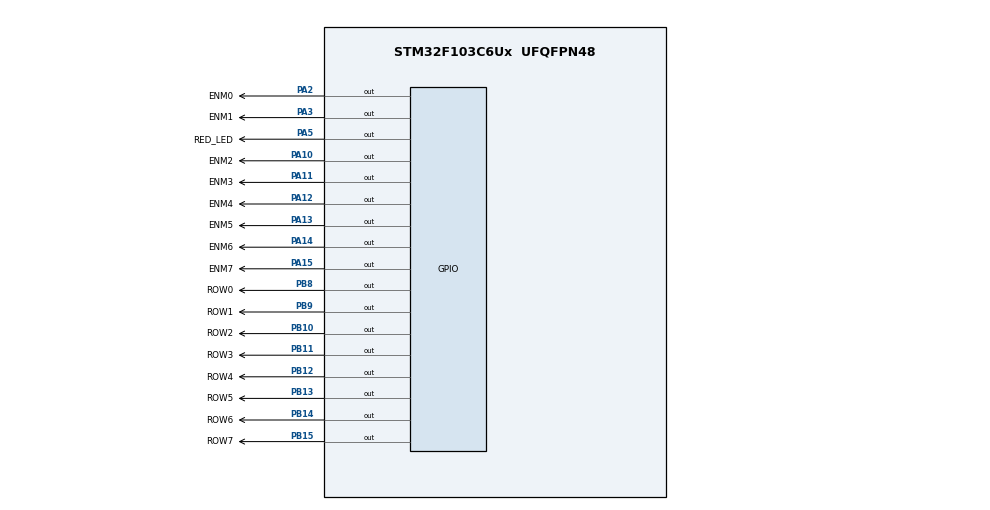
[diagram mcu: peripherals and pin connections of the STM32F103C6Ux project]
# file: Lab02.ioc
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Mcu.Family=STM32F1
Mcu.Name=STM32F103C6Ux
Mcu.Package=UFQFPN48
NVIC.PriorityGroup=NVIC_PRIORITYGROUP_4
NVIC.TIM2_IRQn=true\:0\:0\:false\:false\:true\:true\:true
PA10.GPIO_Label=ENM2
PA10.Signal=GPIO_Output
PA11.GPIO_Label=ENM3
PA11.Signal=GPIO_Output
PA12.GPIO_Label=ENM4
PA12.Signal=GPIO_Output
PA13.GPIO_Label=ENM5
PA13.Signal=GPIO_Output
PA14.GPIO_Label=ENM6
PA14.Signal=GPIO_Output
PA15.GPIO_Label=ENM7
PA15.Signal=GPIO_Output
PA2.GPIO_Label=ENM0
PA2.Signal=GPIO_Output
PA3.GPIO_Label=ENM1
PA3.Signal=GPIO_Output
PA5.GPIO_Label=RED_LED
PA5.Signal=GPIO_Output
PB10.GPIO_Label=ROW2
PB10.Signal=GPIO_Output
PB11.GPIO_Label=ROW3
PB11.Signal=GPIO_Output
PB12.GPIO_Label=ROW4
PB12.Signal=GPIO_Output
PB13.GPIO_Label=ROW5
PB13.Signal=GPIO_Output
PB14.GPIO_Label=ROW6
PB14.Signal=GPIO_Output
PB15.GPIO_Label=ROW7
PB15.Signal=GPIO_Output
PB8.GPIO_Label=ROW0
PB8.Signal=GPIO_Output
PB9.GPIO_Label=ROW1
PB9.Signal=GPIO_Output
ProjectManager.HeapSize=0x200
ProjectManager.StackSize=0x400
ProjectManager.TargetToolchain=STM32CubeIDE
RCC.APB1Freq_Value=8000000
RCC.APB2Freq_Value=8000000
TIM2.Period=9
TIM2.Prescaler=7999
VP_SYS_VS_ND.Mode=No_Debug
VP_TIM2_VS_ClockSourceINT.Mode=Internal
board=custom

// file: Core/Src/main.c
/* USER CODE BEGIN Header */
/**
  ******************************************************************************
  * @file           : main.c
  * @brief          : Main program body
  ******************************************************************************
  * @attention
  *
  * <h2><center>&copy; Copyright (c) 2022 STMicroelectronics.
  * All rights reserved.</center></h2>
  *
  * This software component is licensed by ST under BSD 3-Clause license,
  * the "License"; You may not use this file except in compliance with the
  * License. You may obtain a copy of the License at:
  *                        opensource.org/licenses/BSD-3-Clause
  *
  ******************************************************************************
  */
/* USER CODE END Header */
#include "main.h"

/* USER CODE BEGIN Includes */
#include "software_timer.h"

/* USER CODE END Includes */

TIM_HandleTypeDef htim2;

void SystemClock_Config(void);
static void MX_GPIO_Init(void);
static void MX_TIM2_Init(void);

/* USER CODE BEGIN 0 */
const int MAX_LED_MATRIX = 8;
int index_led_matrix = 0;
// represent letter A to display on led matrix
uint8_t matrix_buffer[8] = {0x00, 0xFC, 0xFE, 0x33, 0x33, 0xFE, 0xFC, 0x00};

// clear all the led on the matrix
void clearLEDMatrix()
{
	HAL_GPIO_WritePin(ENM0_GPIO_Port, ENM0_Pin, GPIO_PIN_SET);
	HAL_GPIO_WritePin(ENM1_GPIO_Port, ENM1_Pin, GPIO_PIN_SET);
	HAL_GPIO_WritePin(ENM2_GPIO_Port, ENM2_Pin, GPIO_PIN_SET);
	HAL_GPIO_WritePin(ENM3_GPIO_Port, ENM3_Pin, GPIO_PIN_SET);
	HAL_GPIO_WritePin(ENM4_GPIO_Port, ENM4_Pin, GPIO_PIN_SET);
	HAL_GPIO_WritePin(ENM5_GPIO_Port, ENM5_Pin, GPIO_PIN_SET);
	HAL_GPIO_WritePin(ENM6_GPIO_Port, ENM6_Pin, GPIO_PIN_SET);
	HAL_GPIO_WritePin(ENM7_GPIO_Port, ENM7_Pin, GPIO_PIN_SET);
}

// by the time this function is called, there is only a column is enabled
// this function will measure which row to enable in order to display the wanted letter
void displayLEDMatrix(uint8_t value)
{
	// by examine every bit in a matrix buffer value, the function can find out
	// which row will be enabled, which will not
	if((value & 0x01) == 0x01) HAL_GPIO_WritePin(ROW0_GPIO_Port, ROW0_Pin, GPIO_PIN_RESET);
	else HAL_GPIO_WritePin(ROW0_GPIO_Port, ROW0_Pin, GPIO_PIN_SET);
	if((value & 0x02) == 0x02) HAL_GPIO_WritePin(ROW1_GPIO_Port, ROW1_Pin, GPIO_PIN_RESET);
	else HAL_GPIO_WritePin(ROW1_GPIO_Port, ROW1_Pin, GPIO_PIN_SET);
	if((value & 0x04) == 0x04) HAL_GPIO_WritePin(ROW2_GPIO_Port, ROW2_Pin, GPIO_PIN_RESET);
	else HAL_GPIO_WritePin(ROW2_GPIO_Port, ROW2_Pin, GPIO_PIN_SET);
	if((value & 0x08) == 0x08) HAL_GPIO_WritePin(ROW3_GPIO_Port, ROW3_Pin, GPIO_PIN_RESET);
	else HAL_GPIO_WritePin(ROW3_GPIO_Port, ROW3_Pin, GPIO_PIN_SET);
	if((value & 0x10) == 0x10) HAL_GPIO_WritePin(ROW4_GPIO_Port, ROW4_Pin, GPIO_PIN_RESET);
	else HAL_GPIO_WritePin(ROW4_GPIO_Port, ROW4_Pin, GPIO_PIN_SET);
	if((value & 0x20) == 0x20) HAL_GPIO_WritePin(ROW5_GPIO_Port, ROW5_Pin, GPIO_PIN_RESET);
	else HAL_GPIO_WritePin(ROW5_GPIO_Port, ROW5_Pin, GPIO_PIN_SET);
	if((value & 0x40) == 0x40) HAL_GPIO_WritePin(ROW6_GPIO_Port, ROW6_Pin, GPIO_PIN_RESET);
	else HAL_GPIO_WritePin(ROW6_GPIO_Port, ROW6_Pin, GPIO_PIN_SET);
	if((value & 0x80) == 0x80) HAL_GPIO_WritePin(ROW7_GPIO_Port, ROW7_Pin, GPIO_PIN_RESET);
	else HAL_GPIO_WritePin(ROW7_GPIO_Port, ROW7_Pin, GPIO_PIN_SET);
}

void updateLEDMatrix(int index)
{
	// this function enable a column at a time
	// and port the value corresponding to the enabled column
	// from matrix_buffer to the display function
	switch(index)
	{
	case 0:
		HAL_GPIO_WritePin(ENM0_GPIO_Port, ENM0_Pin, GPIO_PIN_RESET);
		displayLEDMatrix(matrix_buffer[0]);
		break;
	case 1:
		HAL_GPIO_WritePin(ENM1_GPIO_Port, ENM1_Pin, GPIO_PIN_RESET);
		displayLEDMatrix(matrix_buffer[1]);
		break;
	case 2:
		HAL_GPIO_WritePin(ENM2_GPIO_Port, ENM2_Pin, GPIO_PIN_RESET);
		displayLEDMatrix(matrix_buffer[2]);
		break;
	case 3:
		HAL_GPIO_WritePin(ENM3_GPIO_Port, ENM3_Pin, GPIO_PIN_RESET);
		displayLEDMatrix(matrix_buffer[3]);
		break;
	case 4:
		HAL_GPIO_WritePin(ENM4_GPIO_Port, ENM4_Pin, GPIO_PIN_RESET);
		displayLEDMatrix(matrix_buffer[4]);
		break;
	case 5:
		HAL_GPIO_WritePin(ENM5_GPIO_Port, ENM5_Pin, GPIO_PIN_RESET);
		displayLEDMatrix(matrix_buffer[5]);
		break;
	case 6:
		HAL_GPIO_WritePin(ENM6_GPIO_Port, ENM6_Pin, GPIO_PIN_RESET);
		displayLEDMatrix(matrix_buffer[6]);
		break;
	case 7:
		HAL_GPIO_WritePin(ENM7_GPIO_Port, ENM7_Pin, GPIO_PIN_RESET);
		displayLEDMatrix(matrix_buffer[7]);
		break;
	default:
		break;
	}
}
/* USER CODE END 0 */

int main(void)
{

  /* MCU Configuration--------------------------------------------------------*/

  /* Reset of all peripherals, Initializes the Flash interface and the Systick. */
  HAL_Init();

  /* Configure the system clock */
  SystemClock_Config();

  /* Initialize all configured peripherals */
  MX_GPIO_Init();
  MX_TIM2_Init();
  /* USER CODE BEGIN 2 */
  HAL_TIM_Base_Start_IT(&htim2);
  /* USER CODE END 2 */

  /* Infinite loop */
  /* USER CODE BEGIN WHILE */
  set_timer1(50);
  HAL_GPIO_WritePin(ENM0_GPIO_Port, ENM0_Pin, GPIO_PIN_SET);
  HAL_GPIO_WritePin(ENM1_GPIO_Port, ENM1_Pin, GPIO_PIN_SET);
  HAL_GPIO_WritePin(ENM2_GPIO_Port, ENM2_Pin, GPIO_PIN_SET);
  HAL_GPIO_WritePin(ENM3_GPIO_Port, ENM3_Pin, GPIO_PIN_SET);
  HAL_GPIO_WritePin(ENM4_GPIO_Port, ENM4_Pin, GPIO_PIN_SET);
  HAL_GPIO_WritePin(ENM5_GPIO_Port, ENM5_Pin, GPIO_PIN_SET);
  HAL_GPIO_WritePin(ENM6_GPIO_Port, ENM6_Pin, GPIO_PIN_SET);
  HAL_GPIO_WritePin(ENM7_GPIO_Port, ENM7_Pin, GPIO_PIN_SET);
  while (1)
  {
    /* USER CODE END WHILE */

    /* USER CODE BEGIN 3 */
	  // timer flag 0 has time cycle of 1 second
	  // controls the red blinking led
	  if(timer0_flag == 1)
	  {
		  timer0_flag = 0;
		  HAL_GPIO_TogglePin(RED_LED_GPIO_Port, RED_LED_Pin);
	  }
	  // timer flag 1 has time cycle of 0.5 second
	  // controls lad matrix
	  if(timer1_flag == 1)
	  {
		  timer1_flag = 0;
		  if(index_led_matrix >= 8) index_led_matrix = 0;
		  // reset the led matrix
		  clearLEDMatrix();
		  // display on led matrix
		  updateLEDMatrix(index_led_matrix++);
		  set_timer1(50);
	  }
  }
  /* USER CODE END 3 */
}

void SystemClock_Config(void)
{
  RCC_OscInitTypeDef RCC_OscInitStruct = {0};
  RCC_ClkInitTypeDef RCC_ClkInitStruct = {0};

  /** Initializes the RCC Oscillators according to the specified parameters
  * in the RCC_OscInitTypeDef structure.
  */
  RCC_OscInitStruct.OscillatorType = RCC_OSCILLATORTYPE_HSI;
  RCC_OscInitStruct.HSIState = RCC_HSI_ON;
  RCC_OscInitStruct.HSICalibrationValue = RCC_HSICALIBRATION_DEFAULT;
  RCC_OscInitStruct.PLL.PLLState = RCC_PLL_NONE;
  if (HAL_RCC_OscConfig(&RCC_OscInitStruct) != HAL_OK)
  {
    Error_Handler();
  }
  /** Initializes the CPU, AHB and APB buses clocks
  */
  RCC_ClkInitStruct.ClockType = RCC_CLOCKTYPE_HCLK|RCC_CLOCKTYPE_SYSCLK
                              |RCC_CLOCKTYPE_PCLK1|RCC_CLOCKTYPE_PCLK2;
  RCC_ClkInitStruct.SYSCLKSource = RCC_SYSCLKSOURCE_HSI;
  RCC_ClkInitStruct.AHBCLKDivider = RCC_SYSCLK_DIV1;
  RCC_ClkInitStruct.APB1CLKDivider = RCC_HCLK_DIV1;
  RCC_ClkInitStruct.APB2CLKDivider = RCC_HCLK_DIV1;

  if (HAL_RCC_ClockConfig(&RCC_ClkInitStruct, FLASH_LATENCY_0) != HAL_OK)
  {
    Error_Handler();
  }
}

static void MX_TIM2_Init(void)
{

  TIM_ClockConfigTypeDef sClockSourceConfig = {0};
  TIM_MasterConfigTypeDef sMasterConfig = {0};

  htim2.Instance = TIM2;
  htim2.Init.Prescaler = 7999;
  htim2.Init.CounterMode = TIM_COUNTERMODE_UP;
  htim2.Init.Period = 9;
  htim2.Init.ClockDivision = TIM_CLOCKDIVISION_DIV1;
  htim2.Init.AutoReloadPreload = TIM_AUTORELOAD_PRELOAD_DISABLE;
  if (HAL_TIM_Base_Init(&htim2) != HAL_OK)
  {
    Error_Handler();
  }
  sClockSourceConfig.ClockSource = TIM_CLOCKSOURCE_INTERNAL;
  if (HAL_TIM_ConfigClockSource(&htim2, &sClockSourceConfig) != HAL_OK)
  {
    Error_Handler();
  }
  sMasterConfig.MasterOutputTrigger = TIM_TRGO_RESET;
  sMasterConfig.MasterSlaveMode = TIM_MASTERSLAVEMODE_DISABLE;
  if (HAL_TIMEx_MasterConfigSynchronization(&htim2, &sMasterConfig) != HAL_OK)
  {
    Error_Handler();
  }

}

static void MX_GPIO_Init(void)
{
  GPIO_InitTypeDef GPIO_InitStruct = {0};

  /* GPIO Ports Clock Enable */
  __HAL_RCC_GPIOA_CLK_ENABLE();
  __HAL_RCC_GPIOB_CLK_ENABLE();

  /*Configure GPIO pin Output Level */
  HAL_GPIO_WritePin(GPIOA, ENM0_Pin|ENM1_Pin|RED_LED_Pin|ENM2_Pin
                          |ENM3_Pin|ENM4_Pin|ENM5_Pin|ENM6_Pin
                          |ENM7_Pin, GPIO_PIN_RESET);

  /*Configure GPIO pin Output Level */
  HAL_GPIO_WritePin(GPIOB, ROW2_Pin|ROW3_Pin|ROW4_Pin|ROW5_Pin
                          |ROW6_Pin|ROW7_Pin|ROW0_Pin|ROW1_Pin, GPIO_PIN_RESET);

  /*Configure GPIO pins : ENM0_Pin ENM1_Pin RED_LED_Pin ENM2_Pin
                           ENM3_Pin ENM4_Pin ENM5_Pin ENM6_Pin
                           ENM7_Pin */
  GPIO_InitStruct.Pin = ENM0_Pin|ENM1_Pin|RED_LED_Pin|ENM2_Pin
                          |ENM3_Pin|ENM4_Pin|ENM5_Pin|ENM6_Pin
                          |ENM7_Pin;
  GPIO_InitStruct.Mode = GPIO_MODE_OUTPUT_PP;
  GPIO_InitStruct.Pull = GPIO_NOPULL;
  GPIO_InitStruct.Speed = GPIO_SPEED_FREQ_LOW;
  HAL_GPIO_Init(GPIOA, &GPIO_InitStruct);

  /*Configure GPIO pins : ROW2_Pin ROW3_Pin ROW4_Pin ROW5_Pin
                           ROW6_Pin ROW7_Pin ROW0_Pin ROW1_Pin */
  GPIO_InitStruct.Pin = ROW2_Pin|ROW3_Pin|ROW4_Pin|ROW5_Pin
                          |ROW6_Pin|ROW7_Pin|ROW0_Pin|ROW1_Pin;
  GPIO_InitStruct.Mode = GPIO_MODE_OUTPUT_PP;
  GPIO_InitStruct.Pull = GPIO_NOPULL;
  GPIO_InitStruct.Speed = GPIO_SPEED_FREQ_LOW;
  HAL_GPIO_Init(GPIOB, &GPIO_InitStruct);

}

/* USER CODE BEGIN 4 */
void HAL_TIM_PeriodElapsedCallback(TIM_HandleTypeDef * htim)
{
	timer_run();
}
/* USER CODE END 4 */

void Error_Handler(void)
{
  __disable_irq();
  while (1)
  {
  }
}

/************************ (C) COPYRIGHT STMicroelectronics *****END OF FILE****/
